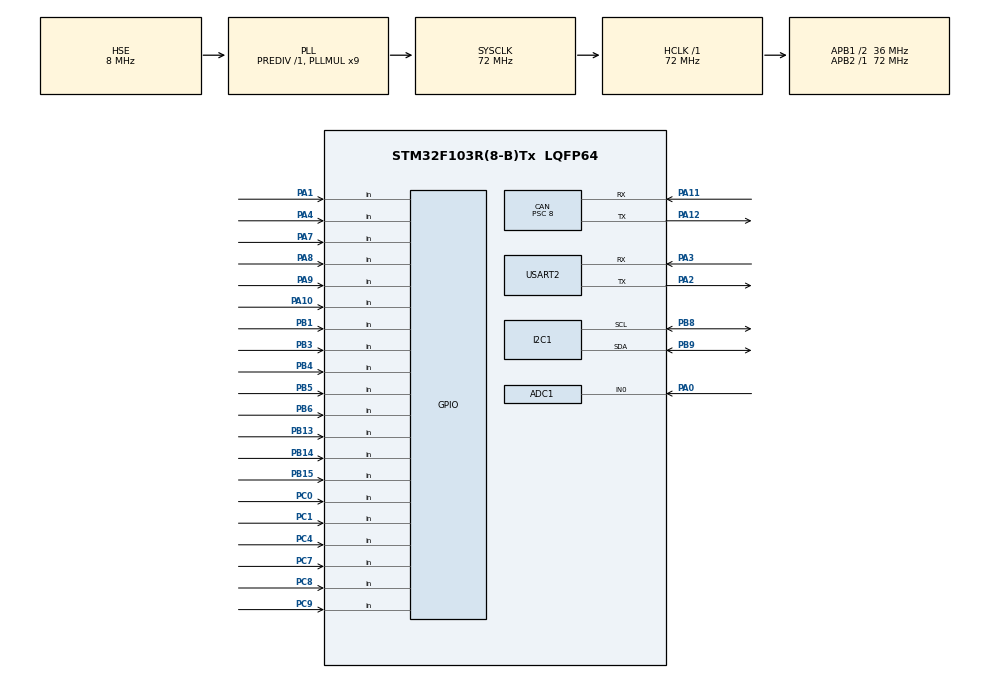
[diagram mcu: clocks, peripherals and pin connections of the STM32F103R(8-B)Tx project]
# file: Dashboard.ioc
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ADC1.Channel-1\#ChannelRegularConversion=ADC_CHANNEL_0
ADC1.NbrOfConversionFlag=1
ADC1.Rank-1\#ChannelRegularConversion=1
ADC1.SamplingTime-1\#ChannelRegularConversion=ADC_SAMPLETIME_1CYCLE_5
ADC1.master=1
CAN.BS1=CAN_BS1_15TQ
CAN.BS2=CAN_BS2_2TQ
CAN.CalculateBaudRate=250000
CAN.CalculateTimeBit=4000
CAN.CalculateTimeQuantum=222.22222222222223
CAN.Prescaler=8
Mcu.Family=STM32F1
Mcu.Name=STM32F103R(8-B)Tx
Mcu.Package=LQFP64
NVIC.PriorityGroup=NVIC_PRIORITYGROUP_4
NVIC.TIM3_IRQn=true\:0\:0\:false\:false\:true\:true\:true\:true
NVIC.TIM4_IRQn=true\:0\:0\:false\:false\:true\:true\:true\:true
NVIC.USB_LP_CAN1_RX0_IRQn=true\:0\:0\:false\:false\:true\:true\:true\:true
PA0-WKUP.Signal=ADCx_IN0
PA1.GPIO_PuPd=GPIO_PULLDOWN
PA1.Signal=GPIO_Input
PA10.GPIO_PuPd=GPIO_PULLDOWN
PA10.Signal=GPIO_Input
PA11.GPIO_Mode=GPIO_MODE_INPUT
PA11.GPIO_PuPd=GPIO_PULLUP
PA11.Mode=CAN_Activate
PA11.Signal=CAN_RX
PA12.Mode=CAN_Activate
PA12.Signal=CAN_TX
PA13.Mode=Serial_Wire
PA13.Signal=SYS_JTMS-SWDIO
PA14.Mode=Serial_Wire
PA14.Signal=SYS_JTCK-SWCLK
PA2.Mode=Asynchronous
PA2.Signal=USART2_TX
PA3.Mode=Asynchronous
PA3.Signal=USART2_RX
PA4.GPIO_PuPd=GPIO_PULLDOWN
PA4.Signal=GPIO_Input
PA7.GPIO_PuPd=GPIO_PULLDOWN
PA7.Signal=GPIO_Input
PA8.GPIO_PuPd=GPIO_PULLDOWN
PA8.Signal=GPIO_Input
PA9.GPIO_PuPd=GPIO_PULLDOWN
PA9.Signal=GPIO_Input
PB1.GPIO_PuPd=GPIO_PULLDOWN
PB1.Signal=GPIO_Input
PB13.GPIO_PuPd=GPIO_PULLDOWN
PB13.Signal=GPIO_Input
PB14.GPIO_PuPd=GPIO_PULLDOWN
PB14.Signal=GPIO_Input
PB15.GPIO_PuPd=GPIO_PULLDOWN
PB15.Signal=GPIO_Input
PB3.GPIO_PuPd=GPIO_PULLDOWN
PB3.Signal=GPIO_Input
PB4.GPIO_PuPd=GPIO_PULLDOWN
PB4.Signal=GPIO_Input
PB5.GPIO_PuPd=GPIO_PULLDOWN
PB5.Signal=GPIO_Input
PB6.GPIO_PuPd=GPIO_PULLDOWN
PB6.Signal=GPIO_Input
PB8.Mode=I2C
PB8.Signal=I2C1_SCL
PB9.Mode=I2C
PB9.Signal=I2C1_SDA
PC0.GPIO_PuPd=GPIO_PULLDOWN
PC0.Signal=GPIO_Input
PC1.GPIO_PuPd=GPIO_PULLDOWN
PC1.Signal=GPIO_Input
PC4.GPIO_PuPd=GPIO_PULLDOWN
PC4.Signal=GPIO_Input
PC7.GPIO_PuPd=GPIO_PULLDOWN
PC7.Signal=GPIO_Input
PC8.GPIO_PuPd=GPIO_PULLDOWN
PC8.Signal=GPIO_Input
PC9.GPIO_PuPd=GPIO_PULLDOWN
PC9.Signal=GPIO_Input
PD0-OSC_IN.Mode=HSE-External-Oscillator
PD0-OSC_IN.Signal=RCC_OSC_IN
PD1-OSC_OUT.Mode=HSE-External-Oscillator
PD1-OSC_OUT.Signal=RCC_OSC_OUT
ProjectManager.HeapSize=0x200
ProjectManager.StackSize=0x400
ProjectManager.TargetToolchain=STM32CubeIDE
RCC.ADCPresc=RCC_ADCPCLK2_DIV6
RCC.AHBFreq_Value=72000000
RCC.APB1CLKDivider=RCC_HCLK_DIV2
RCC.APB1Freq_Value=36000000
RCC.APB1TimFreq_Value=72000000
RCC.APB2Freq_Value=72000000
RCC.APB2TimFreq_Value=72000000
RCC.HCLKFreq_Value=72000000
RCC.PLLMUL=RCC_PLL_MUL9
RCC.PLLSourceVirtual=RCC_PLLSOURCE_HSE
RCC.SYSCLKFreq_VALUE=72000000
RCC.SYSCLKSource=RCC_SYSCLKSOURCE_PLLCLK
RCC.USBFreq_Value=72000000
SH.ADCx_IN0.0=ADC1_IN0,IN0
TIM3.AutoReloadPreload=TIM_AUTORELOAD_PRELOAD_DISABLE
TIM3.Period=499
TIM3.Prescaler=7199
TIM4.Period=999
TIM4.Prescaler=7199
USART2.VirtualMode=VM_ASYNC
VP_TIM3_VS_ClockSourceINT.Mode=Internal
VP_TIM4_VS_ClockSourceINT.Mode=Internal
board=custom

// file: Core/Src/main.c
/* USER CODE BEGIN Header */
/**
 ******************************************************************************
 * @file           : main.c
 * @brief          : Main program body
 ******************************************************************************
 * @attention
 *
 * Copyright (c) 2023 STMicroelectronics.
 * All rights reserved.
 *
 * This software is licensed under terms that can be found in the LICENSE file
 * in the root directory of this software component.
 * If no LICENSE file comes with this software, it is provided AS-IS.
 *
 ******************************************************************************
 */
/* USER CODE END Header */
#include "main.h"

/* USER CODE BEGIN Includes */
#include <string.h>
#include"stdio.h"
#include"added_function.h"
/* USER CODE END Includes */

/* USER CODE BEGIN PTD */
enum State bms_state = IDLE;
/* USER CODE END PTD */

/* USER CODE BEGIN PD */
#define CRUISE_CONTROL_MAX_SPEED 800.0f
#define CRUISE_CONTROL_MIN_SPEED 100.0f
#define PEDAL_MIN 200
#define PEDAL_MAX 3530

//#define PEDAL_MAX 2630
/* USER CODE END PD */

/* USER CODE BEGIN PM */
#define MIN(a, b) ((a) < (b)) ? (a) : (b)
#define MAX(a, b) ((a) > (b)) ? (a) : (b)
/* USER CODE END PM */

ADC_HandleTypeDef hadc1;

CAN_HandleTypeDef hcan;

I2C_HandleTypeDef hi2c1;

TIM_HandleTypeDef htim3;
TIM_HandleTypeDef htim4;

UART_HandleTypeDef huart2;

/* USER CODE BEGIN PV */
// Buttons' state
state but_state = { 0 };

// CAN outputs
static uint8_t bms_data[8] = { 0 };
static uint8_t inv_data[8] = { 0 };
uint8_t* const p_bms_data = bms_data;
uint8_t* const p_inv_data = inv_data;
uint8_t* const p_aux_data = &but_state.aux_state;

//Dashboard
static uint32_t bus_current = 0;
float* const p_bus_current = (float*) &bus_current;

static uint32_t bus_voltage = 0;
float* const p_bus_voltage = (float*) &bus_voltage;

static int32_t bat_current = 0;
int32_t* const p_bat_current = &bat_current;

static uint32_t bat_voltage = 0;
uint32_t* const p_bat_voltage = &bat_voltage;

static int16_t mppt1_current = 0;
int16_t* const p_mppt1_current = &mppt1_current;

static int16_t mppt1_voltage = 0;
int16_t* const p_mppt1_voltage = &mppt1_voltage;

static int16_t mppt2_current = 0;
int16_t* const p_mppt2_current = &mppt2_current;

static int16_t mppt2_voltage = 0;
int16_t* const p_mppt2_voltage = &mppt2_voltage;

static uint32_t veh_spd = 0;
float* const p_veh_spd = (float*) &veh_spd;

static uint32_t mot_spd = 0;
float* const p_mot_spd = (float*) &mot_spd;

static uint32_t tmp_min = 0;
float* const p_tmp_min = (float*) &tmp_min;

static uint32_t tmp_max = 0;
float* const p_tmp_max = (float*) &tmp_max;

static uint32_t vol_min = 0;
float* const p_vol_min = (float*) &vol_min;

static uint32_t vol_max = 0;
float* const p_vol_max = (float*) &vol_max;

static uint32_t cur_ref = 0;
float* const p_cur_ref = (float*) &cur_ref;
float current_ref = 0;

static uint32_t charge = 0;
float* const p_charge = (float*) &charge;

static uint32_t crs_spd = 0;
float* const p_crs_spd = (float*) &crs_spd;

uint32_t pedal_delay = 0;

uint8_t auxiliary_safe_state = 0;

//VARIABILE ADAUGATE DE PAUL
	//eroare software overcurrent
	uint8_t SWOC_flag = 0;
	uint8_t safe_state = 0;

	float prev_current_ref = 0;
	static float delta = 0.1f;

	uint32_t bus_current_mailbox = CAN_TX_MAILBOX2;

	static const CAN_TxHeaderTypeDef bus_current_header = {0x502,0x00,CAN_RTR_DATA,CAN_ID_STD,8,DISABLE};
	static uint8_t bus_current_data[8];

	static float bus_current_limit = 1.0f;

	float MAX_CURRENT_REF = 1.0f;
	float* p_MAX_CURRENT_REF = &MAX_CURRENT_REF;

	#define MAX_CURRENT_REF_RVS 0.3f

	#define SPEED_LIMIT  0
	#define SPEED_LIMIT_RVS 0

	extern float* p_Power_Sum_Print;

	float bat_pow = 0;
	float *p_bat_pow = &bat_pow;

	extern uint8_t Start_Display_Power;
	extern uint8_t Display_Counter;

	extern uint8_t* p_Echo_Button_Pressed;

/* USER CODE END PV */

void SystemClock_Config(void);
static void MX_GPIO_Init(void);
static void MX_CAN_Init(void);
static void MX_ADC1_Init(void);
static void MX_TIM3_Init(void);
static void MX_I2C1_Init(void);
static void MX_TIM4_Init(void);
static void MX_USART2_UART_Init(void);
/* USER CODE BEGIN PFP */
void set_invertor_state()
{
	bms_data[0] = (mot_spd) & 0xFF;
	bms_data[1] = (mot_spd >> 8) & 0xFF;
	bms_data[2] = (mot_spd >> 16) & 0xFF;
	bms_data[3] = (mot_spd >> 24) & 0xFF;

	bms_data[4] = (cur_ref) & 0xFF;
	bms_data[5] = (cur_ref >> 8) & 0xFF;
	bms_data[6] = (cur_ref >> 16) & 0xFF;
	bms_data[7] = (cur_ref >> 24) & 0xFF;
}
void update_display(I2C_HandleTypeDef *hi2c1, char *msg)
{
	if (!hi2c1)
		return;
	// If dashboard is disconnected
	if (HAL_I2C_IsDeviceReady(hi2c1, DEVICE_ADDR, 2, 10) != HAL_OK)
		return;

	char left_blink, right_blink;
	char buffer[21];
	//float mppt_pow = ((float)((float)mppt1_current + (float)mppt2_current) * (float)mppt1_voltage) / 100.0F;
	bat_pow = ((float)bat_current * (float)bat_voltage) / 1000000.0F;
	float bus_pow = *p_bus_current * *p_bus_voltage;

	// Display first row
	HD44780_SetCursor(0, 0);
	snprintf(buffer, 21, "%4.1f |V: %4.0f | %4.2f", *p_tmp_min, (-*p_veh_spd) * 3.6, *p_vol_min);
	HD44780_PrintStr(buffer);
	// Display second row
	HD44780_SetCursor(0, 1);
	snprintf(buffer, 21, "%4.1f |%%: %4.0f | %4.2f", *p_tmp_max, (*p_charge) * 100.f, *p_vol_max);
	HD44780_PrintStr(buffer);

	// Display third row
	HD44780_SetCursor(0, 2);
	if(*p_Echo_Button_Pressed == 0)
	{
		snprintf(buffer, 21, "STD    %6.0f | %4.0f",bat_pow, bus_pow);
		*p_MAX_CURRENT_REF = 1.0f;
		delta = 0.1f;
	}
	else
	{
		snprintf(buffer, 21, "CHILL  %6.0f | %4.0f",bat_pow, bus_pow);
		*p_MAX_CURRENT_REF = 0.7f;
		delta = 0.05f;
	}
	HD44780_PrintStr(buffer);

	// Display message
	HD44780_SetCursor(0, 3);
	HD44780_PrintStr(msg);

	// Blinkers
	left_blink = (but_state.blink_left == 0) ? ' ' : '<';
	right_blink = (but_state.blink_right == 0) ? ' ' : '>';

	if(Start_Display_Power == 1 && Display_Counter < 10)
	{
		snprintf(buffer, 13, "%c%c NEW LAP  ", left_blink, right_blink);
	}
	else if(Display_Counter == 10 || Start_Display_Power == 0)
	{
		snprintf(buffer, 13, "%c%c L: %4.0f", left_blink, right_blink, *p_Power_Sum_Print);
	}
	HD44780_SetCursor(8, 3);
	HD44780_PrintStr(buffer);

	HD44780_Display();
}
/* USER CODE END PFP */

int main(void)
{

  /* USER CODE BEGIN 1 */
	//Delay cum au spus baietii de pe forumuri, nu merge 100% fara
		volatile int j = 100000;
		while(--j){}

	uint16_t pedal_gradient = 0;

	char msg[20] = "\0";

  /* USER CODE END 1 */

  /* MCU Configuration--------------------------------------------------------*/

  /* Reset of all peripherals, Initializes the Flash interface and the Systick. */
  HAL_Init();

  /* Configure the system clock */
  SystemClock_Config();

  /* Initialize all configured peripherals */
  MX_GPIO_Init();
  MX_CAN_Init();
  MX_ADC1_Init();
  MX_TIM3_Init();
  MX_I2C1_Init();
  MX_TIM4_Init();
  MX_USART2_UART_Init();
  /* USER CODE BEGIN 2 */

	HAL_CAN_Start(&hcan);
	HAL_TIM_Base_Start_IT(&htim3);
	HAL_TIM_Base_Start_IT(&htim4);

	HAL_Delay(50);
	if (HAL_CAN_ActivateNotification(&hcan, CAN_IT_RX_FIFO0_MSG_PENDING)
			!= HAL_OK) {
		Error_Handler();
	}

	/* Initialize */
	HD44780_Init(4);

	HD44780_SetBacklight(255);
	// Clear screen buffer
	HD44780_Clear();

	// BMS idle state
	p_inv_data[0] = 0x00;
	p_inv_data[1] = 0x00;

	memcpy(&bus_current_data[4], &bus_current_limit, sizeof(float));
	if (HAL_CAN_AddTxMessage(&hcan, &bus_current_header, bus_current_data, &bus_current_mailbox) != HAL_OK)
	{
		 Error_Handler();
	}

  /* USER CODE END 2 */

  /* Infinite loop */
  /* USER CODE BEGIN WHILE */
	while (1) {

		update_display(&hi2c1, msg);
    /* USER CODE END WHILE */

    /* USER CODE BEGIN 3 */
		// Cast reference values into CAN output
		set_invertor_state();

		// If power on button is off keep idle state
		if (!but_state.power_on) {
			*p_cur_ref = 0.0f;
			*p_mot_spd = 0.0f;
			p_inv_data[0] = 0x00;
			strcpy(msg, "M Idle");
			auxiliary_safe_state = 1;
			continue;
		}

		// Enable BMS modes
		switch (bms_state) {
			case IDLE:
			case PRE_CHARGE:
				// Enable Accessories + Start + Run modes
				p_inv_data[0] = 0x70;
				strcpy(msg, "PreChg");
				continue;
			case DRIVE:
				// Enable Accessories + Run modes
				p_inv_data[0] = 0x30;
				break;
			case ERR:
			default:
				// Enter safe-state
				p_inv_data[0] = 0x00;
				//de resetat cand intra in eroare
		}

		if (pedal_delay == 0 ) {
			// Read pedal gradient
			HAL_Delay(50);
			HAL_ADC_Start(&hadc1);
			if (HAL_ADC_PollForConversion(&hadc1, HAL_MAX_DELAY) == HAL_OK) {
				pedal_gradient = HAL_ADC_GetValue(&hadc1);
			}
			HAL_ADC_Stop(&hadc1);
			// Normalize pedal gradient
			pedal_gradient = MIN(pedal_gradient, PEDAL_MAX);
			pedal_gradient = MAX(pedal_gradient, PEDAL_MIN);
		} else {
			pedal_delay--;
		}

		// Disable CC if pedal is pressed
		if (pedal_gradient > PEDAL_MIN || but_state.brake_swap == 1 || but_state.brake_state == 1)
			but_state.cruise_mode = 0;

		// Cruise speed control
		if (but_state.cruise_up && *p_crs_spd < CRUISE_CONTROL_MAX_SPEED)
			*p_crs_spd += 10.0f;

		if (but_state.cruise_down && *p_crs_spd > CRUISE_CONTROL_MIN_SPEED)
			*p_crs_spd -= 10.0f;

		// If CC is enabled keep previous reference current value
		if (but_state.brake_swap) {
			strcpy(msg, "Brk on");
			*p_cur_ref = (float)(pedal_gradient - PEDAL_MIN) / (float)(PEDAL_MAX - PEDAL_MIN);
			*p_mot_spd = 0.0f;
		} else if (but_state.cruise_mode && *p_crs_spd > 100.0f) {
			strcpy(msg, "Cr Con");
			*p_cur_ref = 0.2f;
			*p_mot_spd = *p_crs_spd;
			auxiliary_safe_state = 0;
		} else if (but_state.drv_forward) { // butoanele au fost inversate
				strcpy(msg, "Dr fwd ");
				//Testtt SWOC = Software overcurrent
					if(SWOC_flag == 1)
					{
						current_ref = (float)(pedal_gradient - PEDAL_MIN) / (float)(PEDAL_MAX - PEDAL_MIN);
						if(current_ref - prev_current_ref >= delta)
						{
							*p_cur_ref += delta;
						}
						else *p_cur_ref = current_ref;
						if (*p_cur_ref > *p_MAX_CURRENT_REF)
						{
							*p_cur_ref = *p_MAX_CURRENT_REF;
						}
						prev_current_ref = current_ref;
						SWOC_flag = 0;
					}
				*p_mot_spd = -2000.0f;  // To quickly accelerate set large angular velocity reference
				 auxiliary_safe_state = 0;
		} else if (but_state.drv_reverse) {
			strcpy(msg, "Dr rvs");
			//Aceeasi implementare pentru drive reverse, netestat
			if(SWOC_flag == 1)
			{
				current_ref = (float)(pedal_gradient - PEDAL_MIN) / (float)(PEDAL_MAX - PEDAL_MIN);
				if(current_ref - prev_current_ref >= delta)
				{
					*p_cur_ref += delta;
				}
				else *p_cur_ref = current_ref;
				if (*p_cur_ref > MAX_CURRENT_REF_RVS )
				{
					*p_cur_ref = MAX_CURRENT_REF_RVS;
				}
				prev_current_ref = current_ref;
				SWOC_flag = 0;
			}
			*p_mot_spd = 2000.0f;
			 auxiliary_safe_state = 0;  // To quickly accelerate set large angular velocity reference
		} else {
			// Neutral state
			strcpy(msg, "N mode");
			*p_cur_ref = 0.0f;
			*p_mot_spd = 0.0f;
		}

	}

  /* USER CODE END 3 */
}

void SystemClock_Config(void)
{
  RCC_OscInitTypeDef RCC_OscInitStruct = {0};
  RCC_ClkInitTypeDef RCC_ClkInitStruct = {0};
  RCC_PeriphCLKInitTypeDef PeriphClkInit = {0};

  /** Initializes the RCC Oscillators according to the specified parameters
  * in the RCC_OscInitTypeDef structure.
  */
  RCC_OscInitStruct.OscillatorType = RCC_OSCILLATORTYPE_HSE;
  RCC_OscInitStruct.HSEState = RCC_HSE_ON;
  RCC_OscInitStruct.HSEPredivValue = RCC_HSE_PREDIV_DIV1;
  RCC_OscInitStruct.HSIState = RCC_HSI_ON;
  RCC_OscInitStruct.PLL.PLLState = RCC_PLL_ON;
  RCC_OscInitStruct.PLL.PLLSource = RCC_PLLSOURCE_HSE;
  RCC_OscInitStruct.PLL.PLLMUL = RCC_PLL_MUL9;
  if (HAL_RCC_OscConfig(&RCC_OscInitStruct) != HAL_OK)
  {
    Error_Handler();
  }

  /** Initializes the CPU, AHB and APB buses clocks
  */
  RCC_ClkInitStruct.ClockType = RCC_CLOCKTYPE_HCLK|RCC_CLOCKTYPE_SYSCLK
                              |RCC_CLOCKTYPE_PCLK1|RCC_CLOCKTYPE_PCLK2;
  RCC_ClkInitStruct.SYSCLKSource = RCC_SYSCLKSOURCE_PLLCLK;
  RCC_ClkInitStruct.AHBCLKDivider = RCC_SYSCLK_DIV1;
  RCC_ClkInitStruct.APB1CLKDivider = RCC_HCLK_DIV2;
  RCC_ClkInitStruct.APB2CLKDivider = RCC_HCLK_DIV1;

  if (HAL_RCC_ClockConfig(&RCC_ClkInitStruct, FLASH_LATENCY_2) != HAL_OK)
  {
    Error_Handler();
  }
  PeriphClkInit.PeriphClockSelection = RCC_PERIPHCLK_ADC;
  PeriphClkInit.AdcClockSelection = RCC_ADCPCLK2_DIV6;
  if (HAL_RCCEx_PeriphCLKConfig(&PeriphClkInit) != HAL_OK)
  {
    Error_Handler();
  }
}

static void MX_ADC1_Init(void)
{

  ADC_ChannelConfTypeDef sConfig = {0};

  /** Common config
  */
  hadc1.Instance = ADC1;
  hadc1.Init.ScanConvMode = ADC_SCAN_DISABLE;
  hadc1.Init.ContinuousConvMode = DISABLE;
  hadc1.Init.DiscontinuousConvMode = DISABLE;
  hadc1.Init.ExternalTrigConv = ADC_SOFTWARE_START;
  hadc1.Init.DataAlign = ADC_DATAALIGN_RIGHT;
  hadc1.Init.NbrOfConversion = 1;
  if (HAL_ADC_Init(&hadc1) != HAL_OK)
  {
    Error_Handler();
  }

  /** Configure Regular Channel
  */
  sConfig.Channel = ADC_CHANNEL_0;
  sConfig.Rank = ADC_REGULAR_RANK_1;
  sConfig.SamplingTime = ADC_SAMPLETIME_1CYCLE_5;
  if (HAL_ADC_ConfigChannel(&hadc1, &sConfig) != HAL_OK)
  {
    Error_Handler();
  }

}

static void MX_CAN_Init(void)
{

  hcan.Instance = CAN1;
  hcan.Init.Prescaler = 8;
  hcan.Init.Mode = CAN_MODE_NORMAL;
  hcan.Init.SyncJumpWidth = CAN_SJW_1TQ;
  hcan.Init.TimeSeg1 = CAN_BS1_15TQ;
  hcan.Init.TimeSeg2 = CAN_BS2_2TQ;
  hcan.Init.TimeTriggeredMode = DISABLE;
  hcan.Init.AutoBusOff = DISABLE;
  hcan.Init.AutoWakeUp = DISABLE;
  hcan.Init.AutoRetransmission = DISABLE;
  hcan.Init.ReceiveFifoLocked = DISABLE;
  hcan.Init.TransmitFifoPriority = DISABLE;
  if (HAL_CAN_Init(&hcan) != HAL_OK)
  {
    Error_Handler();
  }
  /* USER CODE BEGIN CAN_Init 2 */

	CAN_FilterTypeDef canfilterconfig;

	canfilterconfig.FilterActivation = CAN_FILTER_ENABLE;
	canfilterconfig.FilterBank = 10;
	canfilterconfig.FilterFIFOAssignment = CAN_RX_FIFO0;
	canfilterconfig.FilterIdHigh = 0; //this tells what to compare the incoming data to
	canfilterconfig.FilterIdLow = 0x0000;
	canfilterconfig.FilterMaskIdHigh = 0; //this tells which bits to compare
	canfilterconfig.FilterMaskIdLow = 0x0000;
	canfilterconfig.FilterMode = CAN_FILTERMODE_IDMASK;
	canfilterconfig.FilterScale = CAN_FILTERSCALE_32BIT;
	canfilterconfig.SlaveStartFilterBank = 10;

	HAL_CAN_ConfigFilter(&hcan, &canfilterconfig);

  /* USER CODE END CAN_Init 2 */

}

static void MX_I2C1_Init(void)
{

  hi2c1.Instance = I2C1;
  hi2c1.Init.ClockSpeed = 100000;
  hi2c1.Init.DutyCycle = I2C_DUTYCYCLE_2;
  hi2c1.Init.OwnAddress1 = 0;
  hi2c1.Init.AddressingMode = I2C_ADDRESSINGMODE_7BIT;
  hi2c1.Init.DualAddressMode = I2C_DUALADDRESS_DISABLE;
  hi2c1.Init.OwnAddress2 = 0;
  hi2c1.Init.GeneralCallMode = I2C_GENERALCALL_DISABLE;
  hi2c1.Init.NoStretchMode = I2C_NOSTRETCH_DISABLE;
  if (HAL_I2C_Init(&hi2c1) != HAL_OK)
  {
    Error_Handler();
  }

}

static void MX_TIM3_Init(void)
{

  TIM_ClockConfigTypeDef sClockSourceConfig = {0};
  TIM_MasterConfigTypeDef sMasterConfig = {0};

  htim3.Instance = TIM3;
  htim3.Init.Prescaler = 7199;
  htim3.Init.CounterMode = TIM_COUNTERMODE_UP;
  htim3.Init.Period = 499;
  htim3.Init.ClockDivision = TIM_CLOCKDIVISION_DIV1;
  htim3.Init.AutoReloadPreload = TIM_AUTORELOAD_PRELOAD_DISABLE;
  if (HAL_TIM_Base_Init(&htim3) != HAL_OK)
  {
    Error_Handler();
  }
  sClockSourceConfig.ClockSource = TIM_CLOCKSOURCE_INTERNAL;
  if (HAL_TIM_ConfigClockSource(&htim3, &sClockSourceConfig) != HAL_OK)
  {
    Error_Handler();
  }
  sMasterConfig.MasterOutputTrigger = TIM_TRGO_RESET;
  sMasterConfig.MasterSlaveMode = TIM_MASTERSLAVEMODE_DISABLE;
  if (HAL_TIMEx_MasterConfigSynchronization(&htim3, &sMasterConfig) != HAL_OK)
  {
    Error_Handler();
  }

}

static void MX_TIM4_Init(void)
{

  TIM_ClockConfigTypeDef sClockSourceConfig = {0};
  TIM_MasterConfigTypeDef sMasterConfig = {0};

  htim4.Instance = TIM4;
  htim4.Init.Prescaler = 7199;
  htim4.Init.CounterMode = TIM_COUNTERMODE_UP;
  htim4.Init.Period = 999;
  htim4.Init.ClockDivision = TIM_CLOCKDIVISION_DIV1;
  htim4.Init.AutoReloadPreload = TIM_AUTORELOAD_PRELOAD_DISABLE;
  if (HAL_TIM_Base_Init(&htim4) != HAL_OK)
  {
    Error_Handler();
  }
  sClockSourceConfig.ClockSource = TIM_CLOCKSOURCE_INTERNAL;
  if (HAL_TIM_ConfigClockSource(&htim4, &sClockSourceConfig) != HAL_OK)
  {
    Error_Handler();
  }
  sMasterConfig.MasterOutputTrigger = TIM_TRGO_RESET;
  sMasterConfig.MasterSlaveMode = TIM_MASTERSLAVEMODE_DISABLE;
  if (HAL_TIMEx_MasterConfigSynchronization(&htim4, &sMasterConfig) != HAL_OK)
  {
    Error_Handler();
  }

}

static void MX_USART2_UART_Init(void)
{

  huart2.Instance = USART2;
  huart2.Init.BaudRate = 115200;
  huart2.Init.WordLength = UART_WORDLENGTH_8B;
  huart2.Init.StopBits = UART_STOPBITS_1;
  huart2.Init.Parity = UART_PARITY_NONE;
  huart2.Init.Mode = UART_MODE_TX_RX;
  huart2.Init.HwFlowCtl = UART_HWCONTROL_NONE;
  huart2.Init.OverSampling = UART_OVERSAMPLING_16;
  if (HAL_UART_Init(&huart2) != HAL_OK)
  {
    Error_Handler();
  }

}

static void MX_GPIO_Init(void)
{
  GPIO_InitTypeDef GPIO_InitStruct = {0};

  /* GPIO Ports Clock Enable */
  __HAL_RCC_GPIOD_CLK_ENABLE();
  __HAL_RCC_GPIOC_CLK_ENABLE();
  __HAL_RCC_GPIOA_CLK_ENABLE();
  __HAL_RCC_GPIOB_CLK_ENABLE();

  /*Configure GPIO pins : PC0 PC1 PC4 PC7
                           PC8 PC9 */
  GPIO_InitStruct.Pin = GPIO_PIN_0|GPIO_PIN_1|GPIO_PIN_4|GPIO_PIN_7
                          |GPIO_PIN_8|GPIO_PIN_9;
  GPIO_InitStruct.Mode = GPIO_MODE_INPUT;
  GPIO_InitStruct.Pull = GPIO_PULLDOWN;
  HAL_GPIO_Init(GPIOC, &GPIO_InitStruct);

  /*Configure GPIO pins : PA1 PA4 PA7 PA8
                           PA9 PA10 */
  GPIO_InitStruct.Pin = GPIO_PIN_1|GPIO_PIN_4|GPIO_PIN_7|GPIO_PIN_8
                          |GPIO_PIN_9|GPIO_PIN_10;
  GPIO_InitStruct.Mode = GPIO_MODE_INPUT;
  GPIO_InitStruct.Pull = GPIO_PULLDOWN;
  HAL_GPIO_Init(GPIOA, &GPIO_InitStruct);

  /*Configure GPIO pins : PB1 PB13 PB14 PB15
                           PB3 PB4 PB5 PB6 */
  GPIO_InitStruct.Pin = GPIO_PIN_1|GPIO_PIN_13|GPIO_PIN_14|GPIO_PIN_15
                          |GPIO_PIN_3|GPIO_PIN_4|GPIO_PIN_5|GPIO_PIN_6;
  GPIO_InitStruct.Mode = GPIO_MODE_INPUT;
  GPIO_InitStruct.Pull = GPIO_PULLDOWN;
  HAL_GPIO_Init(GPIOB, &GPIO_InitStruct);

}

void Error_Handler(void)
{
  /* USER CODE BEGIN Error_Handler_Debug */
	/* User can add his own implementation to report the HAL error return state */
	NVIC_SystemReset();
	__disable_irq();
	if (hcan.ErrorCode != HAL_CAN_ERROR_NONE)
	{
		// Deinit CAN
		if (HAL_CAN_DeInit(&hcan) != HAL_OK)
		{
			while(1) {}
		}
		// Init CAN
		if (HAL_CAN_Init(&hcan) != HAL_OK)
		{
			Error_Handler();
		}
		// Start CAN
		if (HAL_CAN_Start(&hcan) != HAL_OK)
		{
			Error_Handler();
		}
	}
	__enable_irq();
  /* USER CODE END Error_Handler_Debug */
}
